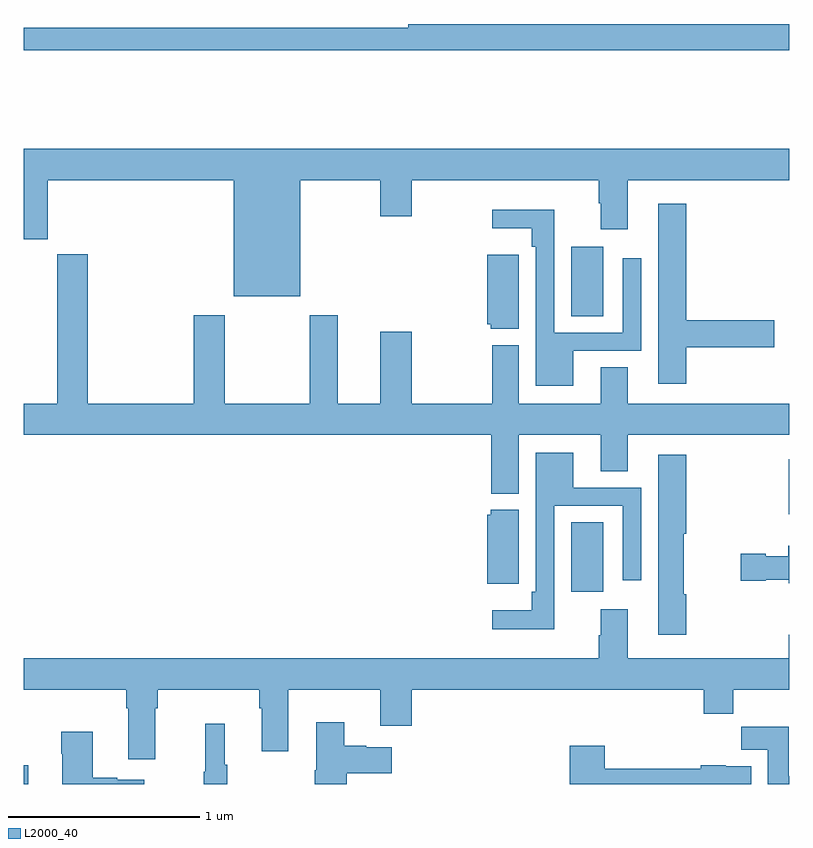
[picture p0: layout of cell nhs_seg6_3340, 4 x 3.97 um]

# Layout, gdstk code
import gdstk
lib = gdstk.Library(unit=1e-6, precision=1e-09)
def R(c, l, rs):  # rectangles x0, y0, x1, y1
    for r in rs: c.add(gdstk.rectangle(r[:2], r[2:], *l))
def P(c, l, *ps):  # polygons
    for p in ps: c.add(gdstk.Polygon(p, *l))
L2000_40 = (2000, 40)

nhs_seg6_3340 = lib.new_cell('nhs_seg6_3340')
R(nhs_seg6_3340, L2000_40, [(307,957.5,307.022,957.598), (309.86,958.506,310.027,958.868), (310.997,958.91,311,959.197), (309.86,959.944,310.027,960.307)])
P(nhs_seg6_3340, L2000_40, [(311,961.472),(309.01,961.472),(309.01,961.452),(307,961.452),(307,961.336),(311,961.336)],
  [(308.446,960.656),(308.864,960.656),(308.864,960.468),(309.028,960.468),(309.028,960.656),(310.004,960.656),(310.004,960.536),(310.016,960.536),(310.016,960.399),(310.156,960.399),(310.156,960.656),(311,960.656),(311,960.82),(307,960.82),(307,960.347),(307.126,960.347),(307.126,960.656),(308.096,960.656),(308.096,960.05),(308.446,960.05)],
  [(310.463,959.782),(310.921,959.782),(310.921,959.924),(310.463,959.924),(310.463,960.532),(310.316,960.532),(310.316,959.592),(310.463,959.592)],
  [(309.871,959.763),(310.227,959.763),(310.227,960.247),(310.131,960.247),(310.131,959.859),(309.771,959.859),(309.771,960.502),(309.447,960.502),(309.447,960.404),(309.655,960.404),(309.655,960.308),(309.675,960.308),(309.675,959.582),(309.871,959.582)],
  [(309.586,959.324),(310.016,959.324),(310.016,959.134),(310.156,959.134),(310.156,959.324),(311,959.324),(311,959.488),(310.156,959.488),(310.156,959.678),(310.016,959.678),(310.016,959.488),(309.586,959.488),(309.586,959.794),(309.448,959.794),(309.448,959.488),(309.028,959.488),(309.028,959.863),(308.864,959.863),(308.864,959.488),(308.641,959.488),(308.641,959.95),(308.494,959.95),(308.494,959.488),(308.049,959.488),(308.049,959.95),(307.889,959.95),(307.889,959.488),(307.334,959.488),(307.334,960.268),(307.174,960.268),(307.174,959.488),(307,959.488),(307,959.324),(309.443,959.324),(309.443,959.018),(309.586,959.018)],
  [(309.586,960.265),(309.422,960.265),(309.422,959.904),(309.441,959.904),(309.441,959.879),(309.586,959.879)],
  [(309.771,958.953),(310.131,958.953),(310.131,958.566),(310.227,958.566),(310.227,959.049),(309.871,959.049),(309.871,959.23),(309.675,959.23),(309.675,958.504),(309.655,958.504),(309.655,958.408),(309.447,958.408),(309.447,958.31),(309.771,958.31)],
  [(310.463,958.493),(310.45,958.493),(310.45,958.808),(310.463,958.808),(310.463,959.221),(310.316,959.221),(310.316,958.281),(310.463,958.281)],
  [(309.586,958.933),(309.441,958.933),(309.441,958.908),(309.422,958.908),(309.422,958.547),(309.586,958.547)],
  [(311,958.744),(310.994,958.744),(310.994,958.69),(310.878,958.69),(310.878,958.703),(310.746,958.703),(310.746,958.561),(310.878,958.561),(310.878,958.568),(310.998,958.568),(310.998,958.55),(311,958.55)],
  [(307.687,957.896),(307.7,957.896),(307.7,957.992),(308.231,957.992),(308.231,957.896),(308.243,957.896),(308.243,957.672),(308.383,957.672),(308.383,957.992),(308.864,957.992),(308.864,957.804),(309.028,957.804),(309.028,957.992),(310.553,957.992),(310.553,957.868),(310.709,957.868),(310.709,957.992),(311,957.992),(311,958.28),(310.997,958.28),(310.997,958.156),(310.156,958.156),(310.156,958.414),(310.016,958.414),(310.016,958.277),(310.004,958.277),(310.004,958.156),(307,958.156),(307,957.992),(307.535,957.992),(307.535,957.896),(307.547,957.896),(307.547,957.63),(307.687,957.63)],
  [(308.687,957.557),(308.923,957.557),(308.923,957.691),(308.79,957.691),(308.79,957.699),(308.674,957.699),(308.674,957.823),(308.528,957.823),(308.528,957.573),(308.521,957.573),(308.521,957.5),(308.687,957.5)],
  [(308.062,957.601),(308.051,957.601),(308.051,957.814),(307.948,957.814),(307.948,957.564),(307.941,957.564),(307.941,957.5),(308.062,957.5)],
  [(311,957.54),(310.999,957.54),(310.999,957.799),(310.75,957.799),(310.75,957.68),(310.889,957.68),(310.889,957.5),(311,957.5)],
  [(307.63,957.523),(307.487,957.523),(307.487,957.533),(307.36,957.533),(307.36,957.772),(307.195,957.772),(307.195,957.659),(307.202,957.659),(307.202,957.5),(307.63,957.5)],
  [(310.801,957.592),(310.668,957.592),(310.668,957.598),(310.538,957.598),(310.538,957.58),(310.037,957.58),(310.037,957.7),(309.854,957.7),(309.854,957.5),(310.801,957.5)])

lib.write_gds('nhs_seg6_3340.gds')
